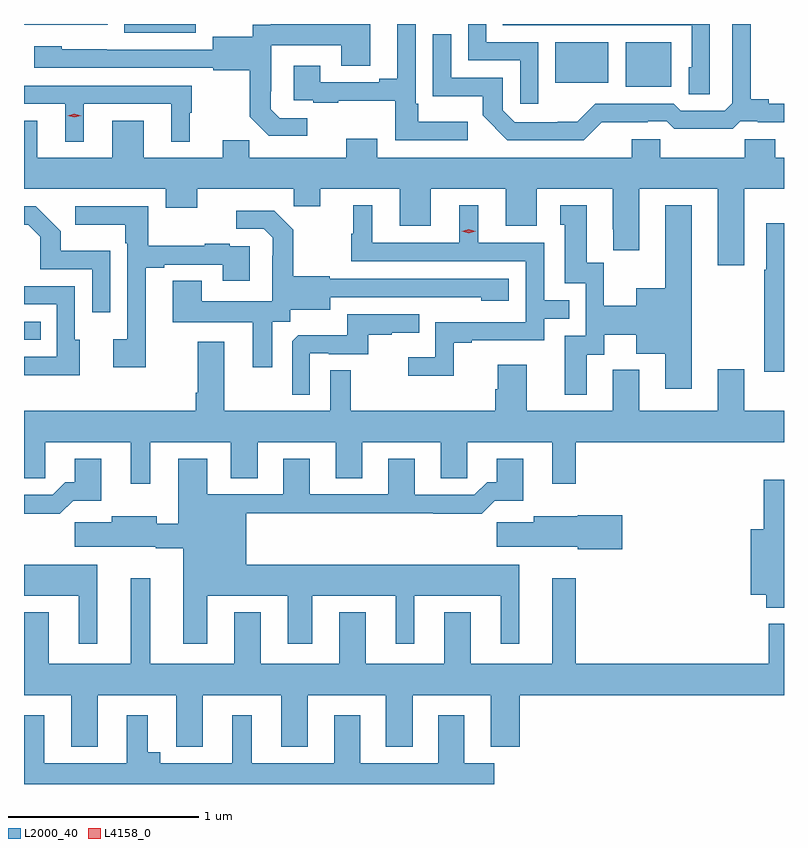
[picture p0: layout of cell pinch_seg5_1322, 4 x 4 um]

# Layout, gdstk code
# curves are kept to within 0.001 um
import gdstk
lib = gdstk.Library(unit=1e-6, precision=1e-09)
def R(c, l, rs):  # rectangles x0, y0, x1, y1
    for r in rs: c.add(gdstk.rectangle(r[:2], r[2:], *l))
def P(c, l, *ps):  # polygons
    for p in ps: c.add(gdstk.Polygon(p, *l))
L2000_40 = (2000, 40)
L4158_0 = (4158, 0)

pinch_seg5_1322 = lib.new_cell('pinch_seg5_1322')
R(pinch_seg5_1322, L2000_40, [(303.092,897.258,303.179,897.354), (306.26,898.589,306.499,898.825), (305.888,898.61,306.166,898.825), (303.619,898.875,303.997,898.92), (303.092,898.917,303.534,898.92)])
P(pinch_seg5_1322, L2000_40, [(305.799,898.824),(305.526,898.824),(305.526,898.92),(305.43,898.92),(305.43,898.728),(305.703,898.728),(305.703,898.5),(305.799,898.5)],
  [(305.428,898.405),(305.167,898.405),(305.167,898.501),(305.154,898.501),(305.154,898.92),(305.057,898.92),(305.057,898.633),(304.961,898.633),(304.961,898.614),(304.651,898.614),(304.651,898.699),(304.511,898.699),(304.511,898.518),(304.615,898.518),(304.615,898.506),(304.747,898.506),(304.747,898.517),(305.046,898.517),(305.046,898.308),(305.428,898.308)],
  [(306.134,898.403),(306.374,898.403),(306.374,898.407),(306.474,898.407),(306.514,898.368),(306.821,898.368),(306.861,898.407),(306.955,898.407),(306.955,898.403),(307.092,898.403),(307.092,898.5),(307.012,898.5),(307.012,898.523),(306.917,898.523),(306.917,898.92),(306.819,898.92),(306.819,898.503),(306.78,898.464),(306.549,898.464),(306.513,898.5),(306.099,898.5),(306.005,898.406),(305.9,898.406),(305.9,898.404),(305.676,898.404),(305.613,898.467),(305.613,898.638),(305.34,898.638),(305.34,898.867),(305.244,898.867),(305.244,898.541),(305.506,898.541),(305.506,898.439),(305.636,898.308),(306.039,898.308)],
  [(306.702,898.92),(305.611,898.92),(305.611,898.914),(306.606,898.914),(306.606,898.692),(306.59,898.692),(306.59,898.549),(306.702,898.549)],
  [(304.582,898.425),(304.437,898.425),(304.39,898.472),(304.39,898.567),(304.392,898.567),(304.392,898.808),(304.763,898.808),(304.763,898.699),(304.915,898.699),(304.915,898.918),(304.495,898.918),(304.495,898.92),(304.391,898.92),(304.391,898.916),(304.296,898.916),(304.296,898.852),(304.085,898.852),(304.085,898.785),(303.291,898.786),(303.291,898.804),(303.147,898.804),(303.147,898.689),(304.089,898.689),(304.089,898.677),(304.281,898.677),(304.281,898.431),(304.381,898.331),(304.582,898.331)],
  [(303.406,898.5),(303.866,898.5),(303.866,898.301),(303.964,898.301),(303.964,898.452),(303.976,898.452),(303.976,898.596),(303.092,898.596),(303.092,898.5),(303.308,898.5),(303.308,898.301),(303.406,898.301)],
  [(304.787,898.315),(304.787,898.216),(304.277,898.216),(304.277,898.307),(304.139,898.307),(304.139,898.216),(303.721,898.216),(303.721,898.411),(303.557,898.411),(303.557,898.216),(303.163,898.216),(303.163,898.411),(303.092,898.411),(303.092,898.052),(303.839,898.052),(303.839,897.953),(304.003,897.953),(304.003,898.052),(304.513,898.052),(304.513,897.962),(304.651,897.962),(304.651,898.052),(305.069,898.052),(305.069,897.858),(305.233,897.858),(305.233,898.052),(305.627,898.052),(305.627,897.858),(305.791,897.858),(305.791,898.052),(306.191,898.052),(306.191,897.841),(306.192,897.841),(306.192,897.729),(306.331,897.729),(306.331,898.052),(306.743,898.052),(306.743,897.651),(306.883,897.651),(306.883,898.052),(307.092,898.052),(307.092,898.216),(307.046,898.216),(307.046,898.314),(306.886,898.314),(306.886,898.216),(306.441,898.216),(306.441,898.314),(306.29,898.314),(306.29,898.216),(304.951,898.216),(304.951,898.315)],
  [(306.055,897.178),(306.145,897.178),(306.145,897.284),(306.314,897.284),(306.314,897.185),(306.467,897.185),(306.467,897),(306.607,897),(306.607,897.967),(306.467,897.967),(306.467,897.529),(306.314,897.529),(306.314,897.436),(306.144,897.436),(306.144,897.663),(306.055,897.663),(306.055,897.967),(305.915,897.967),(305.915,897.864),(305.939,897.864),(305.939,897.555),(306.048,897.555),(306.048,897.279),(305.939,897.279),(305.939,896.97),(306.055,896.97)],
  [(305.355,897.243),(305.449,897.243),(305.449,897.255),(305.829,897.255),(305.829,897.369),(305.963,897.369),(305.963,897.465),(305.829,897.465),(305.829,897.768),(305.482,897.768),(305.482,897.967),(305.384,897.967),(305.384,897.768),(304.924,897.768),(304.924,897.967),(304.826,897.967),(304.826,897.816),(304.815,897.816),(304.815,897.672),(305.733,897.672),(305.733,897.351),(305.256,897.351),(305.256,897.166),(305.115,897.166),(305.115,897.068),(305.355,897.068)],
  [(303.546,897.727),(303.285,897.727),(303.285,897.83),(303.154,897.96),(303.092,897.96),(303.092,897.864),(303.114,897.864),(303.177,897.801),(303.177,897.63),(303.45,897.63),(303.45,897.402),(303.546,897.402)],
  [(303.733,897.636),(303.829,897.636),(303.829,897.654),(304.139,897.654),(304.139,897.57),(304.279,897.57),(304.279,897.75),(304.175,897.75),(304.175,897.763),(304.043,897.763),(304.043,897.752),(303.745,897.752),(303.745,897.96),(303.363,897.96),(303.363,897.863),(303.624,897.863),(303.624,897.767),(303.636,897.767),(303.636,897.262),(303.561,897.262),(303.561,897.114),(303.733,897.114)],
  [(304.399,897.352),(304.494,897.352),(304.494,897.416),(304.705,897.416),(304.705,897.483),(305.499,897.482),(305.499,897.464),(305.644,897.464),(305.644,897.579),(304.701,897.579),(304.701,897.592),(304.509,897.592),(304.509,897.837),(304.409,897.937),(304.209,897.937),(304.209,897.843),(304.353,897.843),(304.4,897.796),(304.4,897.701),(304.398,897.701),(304.398,897.46),(304.027,897.46),(304.027,897.569),(303.875,897.569),(303.875,897.35),(304.295,897.35),(304.295,897.114),(304.399,897.114)],
  [(307.092,897.871),(306.999,897.871),(306.999,897.626),(306.987,897.626),(306.987,897.089),(307.092,897.089)],
  [(303.385,897.258),(303.36,897.258),(303.36,897.54),(303.092,897.54),(303.092,897.444),(303.264,897.444),(303.264,897.168),(303.092,897.168),(303.092,897.072),(303.167,897.072),(303.167,897.071),(303.385,897.071)],
  [(304.596,897.186),(304.696,897.186),(304.696,897.183),(304.904,897.183),(304.904,897.285),(305.027,897.285),(305.027,897.296),(305.171,897.296),(305.171,897.393),(304.794,897.393),(304.794,897.281),(304.535,897.281),(304.503,897.249),(304.503,896.969),(304.596,896.969)],
  [(303.757,896.72),(304.181,896.72),(304.181,896.53),(304.321,896.53),(304.321,896.72),(304.733,896.72),(304.733,896.53),(304.873,896.53),(304.873,896.72),(305.285,896.72),(305.285,896.53),(305.424,896.53),(305.424,896.72),(305.873,896.72),(305.873,896.499),(305.995,896.499),(305.995,896.72),(307.092,896.72),(307.092,896.884),(306.883,896.884),(306.883,897.103),(306.743,897.103),(306.743,896.884),(306.331,896.884),(306.331,897.1),(306.191,897.1),(306.191,896.884),(305.737,896.884),(305.737,897.127),(305.585,897.127),(305.585,896.997),(305.573,896.997),(305.573,896.884),(304.813,896.884),(304.813,897.098),(304.704,897.098),(304.704,896.884),(304.147,896.884),(304.147,897.247),(304.007,897.247),(304.007,896.98),(303.995,896.98),(303.995,896.884),(303.092,896.884),(303.092,896.53),(303.204,896.53),(303.204,896.72),(303.653,896.72),(303.653,896.499),(303.757,896.499)],
  [(304.057,895.91),(304.481,895.91),(304.481,895.659),(304.609,895.659),(304.609,895.91),(305.048,895.91),(305.048,895.659),(305.146,895.659),(305.146,895.91),(305.6,895.91),(305.6,895.659),(305.698,895.659),(305.698,896.074),(304.261,896.074),(304.261,896.344),(305.245,896.344),(305.245,896.342),(305.501,896.342),(305.57,896.411),(305.719,896.411),(305.719,896.632),(305.579,896.632),(305.579,896.509),(305.53,896.509),(305.463,896.442),(305.149,896.442),(305.149,896.632),(305.009,896.632),(305.009,896.445),(304.597,896.445),(304.597,896.632),(304.457,896.632),(304.457,896.445),(304.057,896.445),(304.057,896.632),(303.905,896.632),(303.905,896.29),(303.79,896.29),(303.79,896.329),(303.554,896.329),(303.554,896.297),(303.36,896.297),(303.36,896.168),(303.786,896.168),(303.786,896.161),(303.929,896.161),(303.929,895.659),(304.057,895.659)],
  [(303.35,896.411),(303.499,896.411),(303.499,896.632),(303.359,896.632),(303.359,896.509),(303.31,896.509),(303.243,896.442),(303.092,896.442),(303.092,896.342),(303.281,896.342)],
  [(307.092,896.521),(306.986,896.521),(306.986,896.26),(306.917,896.26),(306.917,895.916),(306.998,895.916),(306.998,895.848),(307.092,895.848)],
  [(306.241,896.334),(306.006,896.334),(306.006,896.329),(305.774,896.329),(305.774,896.297),(305.58,896.297),(305.58,896.168),(306.006,896.168),(306.006,896.156),(306.241,896.156)],
  [(303.478,896.074),(303.092,896.074),(303.092,895.91),(303.38,895.91),(303.38,895.659),(303.478,895.659)],
  [(303.481,895.388),(303.893,895.388),(303.893,895.115),(304.033,895.115),(304.033,895.388),(304.445,895.388),(304.445,895.115),(304.585,895.115),(304.585,895.388),(304.997,895.388),(304.997,895.115),(305.137,895.115),(305.137,895.388),(305.549,895.388),(305.549,895.115),(305.702,895.115),(305.702,895.388),(307.092,895.388),(307.092,895.763),(307.013,895.763),(307.013,895.552),(305.995,895.552),(305.995,896.002),(305.873,896.002),(305.873,895.552),(305.443,895.552),(305.443,895.825),(305.303,895.825),(305.303,895.552),(304.891,895.552),(304.891,895.825),(304.751,895.825),(304.751,895.552),(304.339,895.552),(304.339,895.825),(304.199,895.825),(304.199,895.552),(303.757,895.552),(303.757,896.002),(303.653,896.002),(303.653,895.552),(303.223,895.552),(303.223,895.825),(303.092,895.825),(303.092,895.388),(303.341,895.388),(303.341,895.115),(303.481,895.115)],
  [(305.566,895.03),(305.41,895.03),(305.41,895.282),(305.273,895.282),(305.273,895.03),(304.861,895.03),(304.861,895.282),(304.724,895.282),(304.724,895.03),(304.291,895.03),(304.291,895.282),(304.187,895.282),(304.187,895.03),(303.808,895.03),(303.808,895.087),(303.742,895.087),(303.742,895.282),(303.632,895.282),(303.632,895.03),(303.199,895.03),(303.199,895.282),(303.092,895.282),(303.092,894.92),(305.566,894.92)])
P(pinch_seg5_1322, L4158_0, [(305.433,897.82),(305.397,897.83),(305.397,897.83),(305.397,897.83),(305.433,897.839),(305.469,897.829),(305.469,897.829),(305.469,897.829)],
  [(303.357,898.428),(303.321,898.438),(303.321,898.438),(303.321,898.438),(303.357,898.448),(303.393,898.438),(303.393,898.438),(303.393,898.438)])

lib.write_gds('pinch_seg5_1322.gds')
